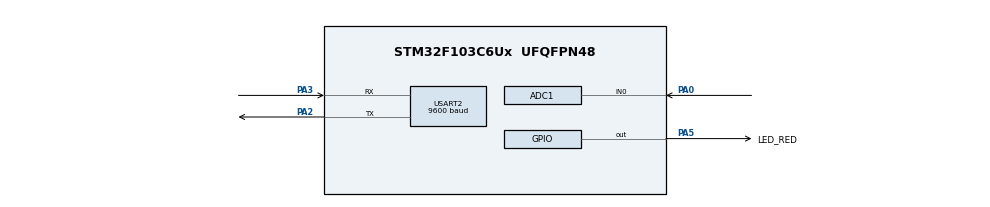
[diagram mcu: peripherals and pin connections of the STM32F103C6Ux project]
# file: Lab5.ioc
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ADC1.Channel-0\#ChannelRegularConversion=ADC_CHANNEL_0
ADC1.ContinuousConvMode=ENABLE
ADC1.NbrOfConversionFlag=1
ADC1.Rank-0\#ChannelRegularConversion=1
ADC1.SamplingTime-0\#ChannelRegularConversion=ADC_SAMPLETIME_1CYCLE_5
ADC1.master=1
Mcu.Family=STM32F1
Mcu.Name=STM32F103C6Ux
Mcu.Package=UFQFPN48
NVIC.PriorityGroup=NVIC_PRIORITYGROUP_4
NVIC.TIM2_IRQn=true\:0\:0\:false\:false\:true\:true\:true
NVIC.USART2_IRQn=true\:0\:0\:false\:false\:true\:true\:true
PA0-WKUP.Signal=ADCx_IN0
PA2.Mode=Asynchronous
PA2.Signal=USART2_TX
PA3.Mode=Asynchronous
PA3.Signal=USART2_RX
PA5.GPIO_Label=LED_RED
PA5.Signal=GPIO_Output
ProjectManager.HeapSize=0x200
ProjectManager.StackSize=0x400
ProjectManager.TargetToolchain=STM32CubeIDE
RCC.APB1Freq_Value=8000000
RCC.APB2Freq_Value=8000000
SH.ADCx_IN0.0=ADC1_IN0,IN0
TIM2.Period=9
TIM2.Prescaler=7999
USART2.BaudRate=9600
USART2.VirtualMode=VM_ASYNC
VP_SYS_VS_ND.Mode=No_Debug
VP_TIM2_VS_ClockSourceINT.Mode=Internal
board=custom

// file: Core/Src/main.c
/* USER CODE BEGIN Header */
/**
  ******************************************************************************
  * @file           : main.c
  * @brief          : Main program body
  ******************************************************************************
  * @attention
  *
  * <h2><center>&copy; Copyright (c) 2023 STMicroelectronics.
  * All rights reserved.</center></h2>
  *
  * This software component is licensed by ST under BSD 3-Clause license,
  * the "License"; You may not use this file except in compliance with the
  * License. You may obtain a copy of the License at:
  *                        opensource.org/licenses/BSD-3-Clause
  *
  ******************************************************************************
  */
/* USER CODE END Header */
#include "main.h"

/* USER CODE BEGIN Includes */
#include "uart_processing.h"
#include "timer.h"
/* USER CODE END Includes */

ADC_HandleTypeDef hadc1;

TIM_HandleTypeDef htim2;

UART_HandleTypeDef huart2;

void SystemClock_Config(void);
static void MX_GPIO_Init(void);
static void MX_ADC1_Init(void);
static void MX_USART2_UART_Init(void);
static void MX_TIM2_Init(void);

int main(void)
{

  /* MCU Configuration--------------------------------------------------------*/

  /* Reset of all peripherals, Initializes the Flash interface and the Systick. */
  HAL_Init();

  /* Configure the system clock */
  SystemClock_Config();

  /* Initialize all configured peripherals */
  MX_GPIO_Init();
  MX_ADC1_Init();
  MX_USART2_UART_Init();
  MX_TIM2_Init();
  /* USER CODE BEGIN 2 */
  HAL_ADC_Start(&hadc1);
  HAL_TIM_Base_Start_IT(&htim2);
  /* USER CODE END 2 */

  /* Infinite loop */
  /* USER CODE BEGIN WHILE */
  uint8_t pData[] = "Getting started...\r\n";
  HAL_Delay(1000);
  HAL_UART_Transmit(&huart2, pData, sizeof(pData), 1000);
  HAL_UART_Receive_IT(&huart2, &temp, 1);
  setTimer1(1000);
  while (1)
  {
	  if (buffer_flag == 1) {
	  		  command_parser_fsm();
	  		  buffer_flag = 0;
	  	  }
	  	  uart_communiation_fsm();
	  	  if (getTimer1Flag()) {
	  		  setTimer1(1000);
	  		  HAL_GPIO_TogglePin(LED_RED_GPIO_Port, LED_RED_Pin);
	  	  }
    /* USER CODE END WHILE */

  }
}

void SystemClock_Config(void)
{
  RCC_OscInitTypeDef RCC_OscInitStruct = {0};
  RCC_ClkInitTypeDef RCC_ClkInitStruct = {0};
  RCC_PeriphCLKInitTypeDef PeriphClkInit = {0};

  /** Initializes the RCC Oscillators according to the specified parameters
  * in the RCC_OscInitTypeDef structure.
  */
  RCC_OscInitStruct.OscillatorType = RCC_OSCILLATORTYPE_HSI;
  RCC_OscInitStruct.HSIState = RCC_HSI_ON;
  RCC_OscInitStruct.HSICalibrationValue = RCC_HSICALIBRATION_DEFAULT;
  RCC_OscInitStruct.PLL.PLLState = RCC_PLL_NONE;
  if (HAL_RCC_OscConfig(&RCC_OscInitStruct) != HAL_OK)
  {
    Error_Handler();
  }
  /** Initializes the CPU, AHB and APB buses clocks
  */
  RCC_ClkInitStruct.ClockType = RCC_CLOCKTYPE_HCLK|RCC_CLOCKTYPE_SYSCLK
                              |RCC_CLOCKTYPE_PCLK1|RCC_CLOCKTYPE_PCLK2;
  RCC_ClkInitStruct.SYSCLKSource = RCC_SYSCLKSOURCE_HSI;
  RCC_ClkInitStruct.AHBCLKDivider = RCC_SYSCLK_DIV1;
  RCC_ClkInitStruct.APB1CLKDivider = RCC_HCLK_DIV1;
  RCC_ClkInitStruct.APB2CLKDivider = RCC_HCLK_DIV1;

  if (HAL_RCC_ClockConfig(&RCC_ClkInitStruct, FLASH_LATENCY_0) != HAL_OK)
  {
    Error_Handler();
  }
  PeriphClkInit.PeriphClockSelection = RCC_PERIPHCLK_ADC;
  PeriphClkInit.AdcClockSelection = RCC_ADCPCLK2_DIV2;
  if (HAL_RCCEx_PeriphCLKConfig(&PeriphClkInit) != HAL_OK)
  {
    Error_Handler();
  }
}

static void MX_ADC1_Init(void)
{

  ADC_ChannelConfTypeDef sConfig = {0};

  /** Common config
  */
  hadc1.Instance = ADC1;
  hadc1.Init.ScanConvMode = ADC_SCAN_DISABLE;
  hadc1.Init.ContinuousConvMode = ENABLE;
  hadc1.Init.DiscontinuousConvMode = DISABLE;
  hadc1.Init.ExternalTrigConv = ADC_SOFTWARE_START;
  hadc1.Init.DataAlign = ADC_DATAALIGN_RIGHT;
  hadc1.Init.NbrOfConversion = 1;
  if (HAL_ADC_Init(&hadc1) != HAL_OK)
  {
    Error_Handler();
  }
  /** Configure Regular Channel
  */
  sConfig.Channel = ADC_CHANNEL_0;
  sConfig.Rank = ADC_REGULAR_RANK_1;
  sConfig.SamplingTime = ADC_SAMPLETIME_1CYCLE_5;
  if (HAL_ADC_ConfigChannel(&hadc1, &sConfig) != HAL_OK)
  {
    Error_Handler();
  }

}

static void MX_TIM2_Init(void)
{

  TIM_ClockConfigTypeDef sClockSourceConfig = {0};
  TIM_MasterConfigTypeDef sMasterConfig = {0};

  htim2.Instance = TIM2;
  htim2.Init.Prescaler = 7999;
  htim2.Init.CounterMode = TIM_COUNTERMODE_UP;
  htim2.Init.Period = 9;
  htim2.Init.ClockDivision = TIM_CLOCKDIVISION_DIV1;
  htim2.Init.AutoReloadPreload = TIM_AUTORELOAD_PRELOAD_DISABLE;
  if (HAL_TIM_Base_Init(&htim2) != HAL_OK)
  {
    Error_Handler();
  }
  sClockSourceConfig.ClockSource = TIM_CLOCKSOURCE_INTERNAL;
  if (HAL_TIM_ConfigClockSource(&htim2, &sClockSourceConfig) != HAL_OK)
  {
    Error_Handler();
  }
  sMasterConfig.MasterOutputTrigger = TIM_TRGO_RESET;
  sMasterConfig.MasterSlaveMode = TIM_MASTERSLAVEMODE_DISABLE;
  if (HAL_TIMEx_MasterConfigSynchronization(&htim2, &sMasterConfig) != HAL_OK)
  {
    Error_Handler();
  }

}

static void MX_USART2_UART_Init(void)
{

  huart2.Instance = USART2;
  huart2.Init.BaudRate = 9600;
  huart2.Init.WordLength = UART_WORDLENGTH_8B;
  huart2.Init.StopBits = UART_STOPBITS_1;
  huart2.Init.Parity = UART_PARITY_NONE;
  huart2.Init.Mode = UART_MODE_TX_RX;
  huart2.Init.HwFlowCtl = UART_HWCONTROL_NONE;
  huart2.Init.OverSampling = UART_OVERSAMPLING_16;
  if (HAL_UART_Init(&huart2) != HAL_OK)
  {
    Error_Handler();
  }

}

static void MX_GPIO_Init(void)
{
  GPIO_InitTypeDef GPIO_InitStruct = {0};

  /* GPIO Ports Clock Enable */
  __HAL_RCC_GPIOA_CLK_ENABLE();

  /*Configure GPIO pin Output Level */
  HAL_GPIO_WritePin(LED_RED_GPIO_Port, LED_RED_Pin, GPIO_PIN_RESET);

  /*Configure GPIO pin : LED_RED_Pin */
  GPIO_InitStruct.Pin = LED_RED_Pin;
  GPIO_InitStruct.Mode = GPIO_MODE_OUTPUT_PP;
  GPIO_InitStruct.Pull = GPIO_NOPULL;
  GPIO_InitStruct.Speed = GPIO_SPEED_FREQ_LOW;
  HAL_GPIO_Init(LED_RED_GPIO_Port, &GPIO_InitStruct);

}

/* USER CODE BEGIN 4 */
void HAL_UART_RxCpltCallback(UART_HandleTypeDef *huart) {
	if (huart->Instance == USART2) {
		// TO DO
		buffer[in_buffer] = temp;
		in_buffer = (in_buffer + 1) % MAX_BUFFER_SIZE;
		buffer_flag = 1;
		buffer_count++;
		//if (index_buffer >= 5) index_buffer = 0;
		HAL_UART_Transmit(&huart2, &temp, 1, 1000);
		HAL_UART_Receive_IT(&huart2, &temp, 1);
	}
}

void HAL_TIM_PeriodElapsedCallback(TIM_HandleTypeDef *htim) {
	timer_run();
}
/* USER CODE END 4 */

void Error_Handler(void)
{
  __disable_irq();
  while (1)
  {
  }
}

/************************ (C) COPYRIGHT STMicroelectronics *****END OF FILE****/
